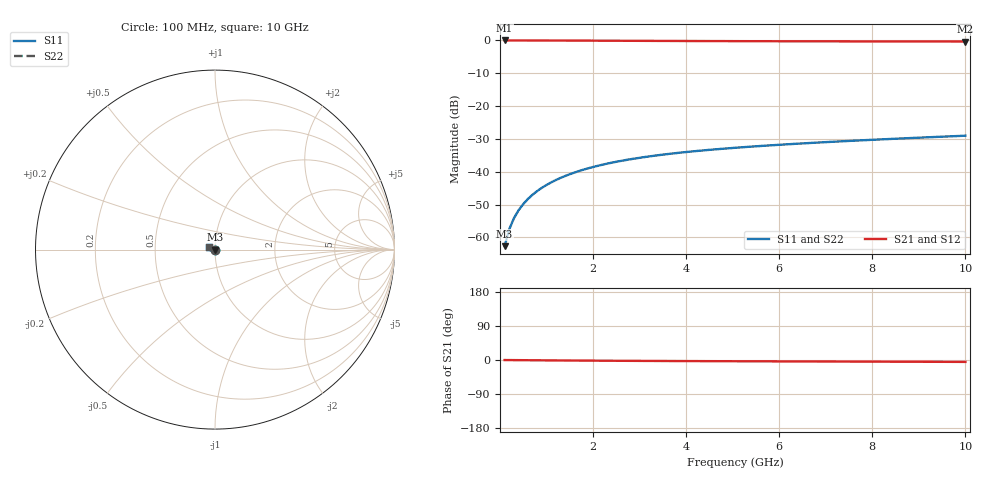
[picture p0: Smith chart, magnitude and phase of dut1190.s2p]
! Touchstone file exported from HFSS 2024.1.0
!  File:  C:/UserFiles/LocalFiles/RDL_TSV_Batchsim/temp_TSV1_1190_1780075489.aedt
!  Generated:  01:32:03 AM May 30, 2026
!  Design:  TSV1
!  Project:  temp_TSV1_1190_1780075489
!  Setup:  Setup1
!  Solution:  Sweep
! Variables:
!  dtsv = 6.01um
!  hbump = 3um
!  htsv = 75.64um
!  lrdl = 252.1521522um
!  p = 40
!  p1 = 44.79um
!  t = 500um
!  trdl = 3um
!  wrdl = 24.89489489um
# GHz S MA R 50.000000
! Terminal data exported
! Port[1] = TSV22_T1
! Port[2] = TSV22_T2
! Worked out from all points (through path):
!   100 points, 100 MHz to 10 GHz, reference 50 ohm
!   highest |S21| = 0.00 dB at 100 MHz (marker M1); lowest = -0.3 dB at 10 GHz (marker M2)
!   lowest |S11| = -62.7 dB at 100 MHz (marker M3), VSWR 1.00, Z = 50 - j0.0643 ohm
!   |S11| at or under -10 dB: start of sweep to end of sweep
!   |S22| runs from -62.7 to -29.0 dB; largest |S21 - S12| = 2.6e-15
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0.1  0.0007351 -60.9  0.9996 -0.1  0.9996 -0.1  0.0007351 -60.9
! Gamma 0 0 0 0
! Port Impedance 50 0 50 0
0.2  0.001333 -77.2  0.9995 -0.2  0.9995 -0.2  0.001333 -77.2
0.3  0.001958 -84.5  0.9994 -0.3  0.9994 -0.3  0.001958 -84.5
0.4  0.002588 -89.3  0.9992 -0.4  0.9992 -0.4  0.002588 -89.3
0.5  0.003217 -92.9  0.999 -0.5  0.999 -0.5  0.003217 -92.9
0.6  0.003843 -96.0  0.9988 -0.6  0.9988 -0.6  0.003843 -96.0
0.7  0.004464 -98.8  0.9985 -0.7  0.9985 -0.7  0.004464 -98.8
0.8  0.00508 -101.3  0.9982 -0.8  0.9982 -0.8  0.00508 -101.3
0.9  0.00569 -103.7  0.9978 -0.8  0.9978 -0.8  0.00569 -103.7
1.1  0.006886 -108.2  0.997 -1.0  0.997 -1.0  0.006886 -108.2
1.4  0.008617 -114.4  0.9956 -1.3  0.9956 -1.3  0.008617 -114.4
1.6  0.009722 -118.3  0.9945 -1.4  0.9945 -1.4  0.009722 -118.3
1.8  0.01079 -122.0  0.9934 -1.6  0.9934 -1.6  0.01079 -122.0
2.1  0.01231 -127.4  0.9916 -1.8  0.9916 -1.8  0.01231 -127.4
2.5  0.01418 -134.1  0.9892 -2.1  0.9892 -2.1  0.01418 -134.1
2.9  0.0159 -140.3  0.9867 -2.3  0.9867 -2.3  0.0159 -140.3
3.4  0.01786 -147.5  0.9838 -2.6  0.9838 -2.6  0.01786 -147.5
4.2  0.02061 -157.8  0.9795 -2.9  0.9795 -2.9  0.02061 -157.8
5.1  0.02331 -167.8  0.9755 -3.3  0.9755 -3.3  0.02331 -167.8
6.7  0.02751 177.4  0.9702 -3.9  0.9702 -3.9  0.02751 177.4
8.4  0.03161 165.1  0.9663 -4.5  0.9663 -4.5  0.03161 165.1
10  0.03539 155.7  0.9637 -5.0  0.9637 -5.0  0.03539 155.7
